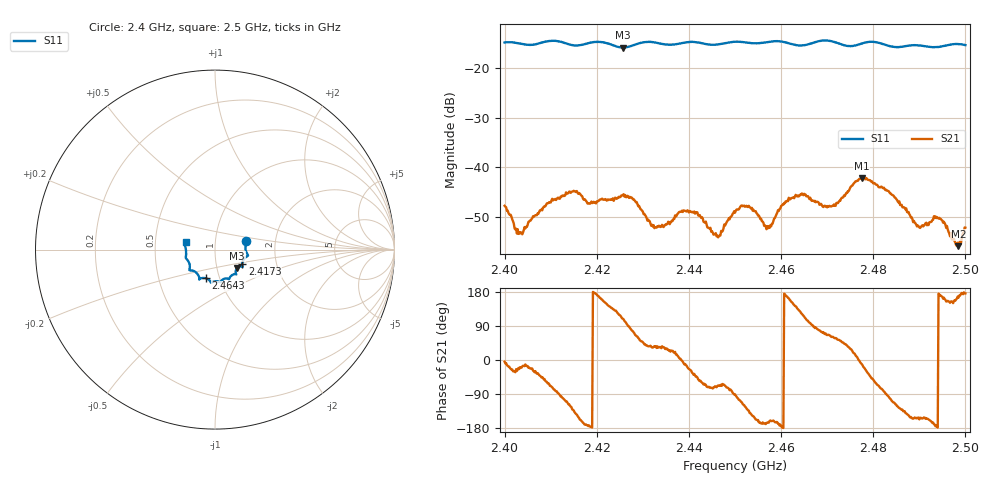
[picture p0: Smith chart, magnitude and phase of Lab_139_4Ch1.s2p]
# Hz S RI R 50
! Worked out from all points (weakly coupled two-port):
!   601 points, 2.4 GHz to 2.5 GHz, reference 50 ohm
!   highest |S21| = -42.15 dB at 2.4775 GHz (marker M1); lowest = -55.9 dB at 2.4985 GHz (marker M2)
!   lowest |S11| = -15.9 dB at 2.4257 GHz (marker M3), VSWR 1.38, Z = 62.4 - j13.1 ohm
!   |S11| at or under -10 dB: start of sweep to end of sweep
!   S12 and S22 are empty: the file has one direction only
!   S11 on the Smith chart (normalised r, x): 2.4 GHz: 1.41, +0.14; 2.4173 GHz: 1.34, -0.23; 2.4643 GHz: 0.86, -0.28; 2.5 GHz: 0.72, +0.06
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2.4e9  0.1734 0.0491  0.00409 -0.000318  0 0  0 0
2.4035e9  0.1724 0.0302  0.0021 -0.000725  0 0  0 0
2.409833e9  0.1836 -0.0319  0.00165 -0.00412  0 0  0 0
2.416667e9  0.1525 -0.0749  -0.0049 -0.00171  0 0  0 0
2.417333e9  0.152 -0.0822  -0.00471 -0.000823  0 0  0 0
2.425667e9  0.1226 -0.1023  -0.00171 0.00499  0 0  0 0
2.433333e9  0.1127 -0.1365  0.00214 0.00136  0 0  0 0
2.439333e9  0.0804 -0.1612  0.00352 -0.000837  0 0  0 0
2.446333e9  0.0447 -0.1661  0.000761 -0.00182  0 0  0 0
2.45e9  0.0296 -0.1807  -2.47e-05 -0.0035  0 0  0 0
2.453167e9  0.0165 -0.1772  -0.00303 -0.00257  0 0  0 0
2.457333e9  -0.0157 -0.1819  -0.00247 -0.000651  0 0  0 0
2.4605e9  -0.0247 -0.1809  -0.00422 -4.56e-05  0 0  0 0
2.464333e9  -0.05 -0.16  -0.00295 0.0044  0 0  0 0
2.466667e9  -0.0761 -0.1595  -0.000221 0.00459  0 0  0 0
2.471333e9  -0.0873 -0.1614  0.00202 0.00357  0 0  0 0
2.4775e9  -0.1315 -0.1162  0.00767 -0.00145  0 0  0 0
2.483333e9  -0.1403 -0.0893  -0.000649 -0.00573  0 0  0 0
2.489667e9  -0.1629 -0.0432  -0.00233 -0.00115  0 0  0 0
2.494333e9  -0.1625 0.00266  -0.00309 0.000364  0 0  0 0
2.4985e9  -0.1702 0.0336  -0.00155 0.000431  0 0  0 0
2.5e9  -0.164 0.0418  -0.00247 0.000183  0 0  0 0
